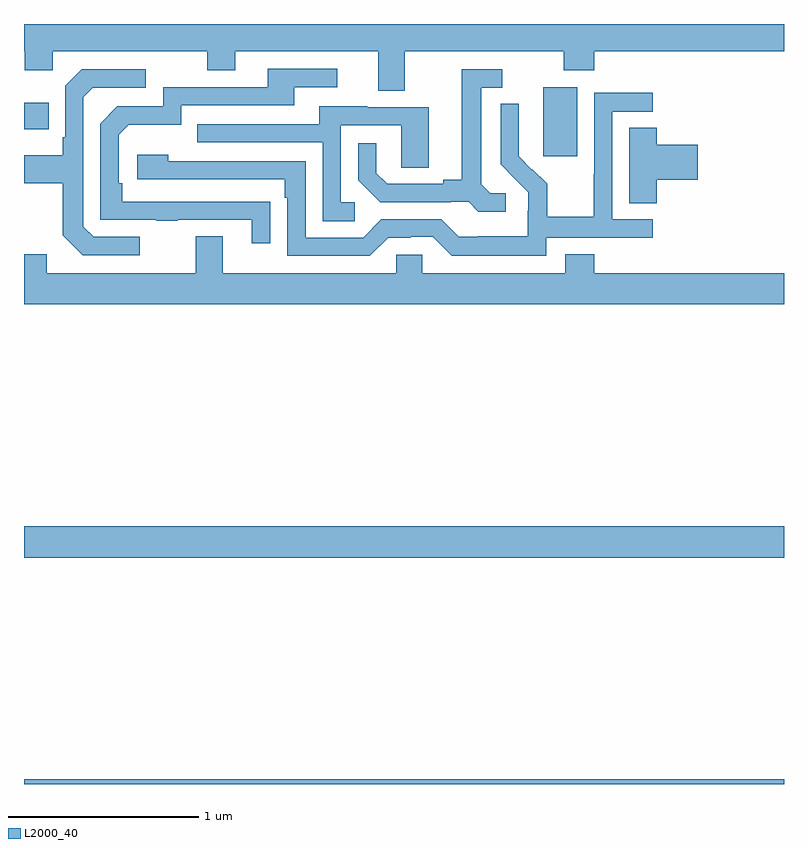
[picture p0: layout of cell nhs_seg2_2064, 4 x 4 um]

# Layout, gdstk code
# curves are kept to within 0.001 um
import gdstk
lib = gdstk.Library(unit=1e-6, precision=1e-09)
def R(c, l, rs):  # rectangles x0, y0, x1, y1
    for r in rs: c.add(gdstk.rectangle(r[:2], r[2:], *l))
def P(c, l, *ps):  # polygons
    for p in ps: c.add(gdstk.Polygon(p, *l))
L2000_40 = (2000, 40)

nhs_seg2_2064 = lib.new_cell('nhs_seg2_2064')
R(nhs_seg2_2064, L2000_40, [(219,623.8,223,623.824), (219,624.992,223,625.156), (221.732,627.105,221.911,627.466), (219,627.245,219.131,627.385)])
P(nhs_seg2_2064, L2000_40, [(221.005,627.656),(221.842,627.656),(221.842,627.557),(222.002,627.557),(222.002,627.656),(223,627.656),(223,627.8),(219,627.8),(219,627.656),(219.004,627.656),(219.004,627.557),(219.15,627.557),(219.15,627.656),(219.964,627.656),(219.964,627.557),(220.111,627.557),(220.111,627.656),(220.865,627.656),(220.865,627.448),(221.005,627.448)],
  [(220.295,626.864),(219.518,626.865),(219.518,626.962),(219.498,626.962),(219.498,627.216),(219.551,627.269),(219.828,627.269),(219.828,627.372),(220.423,627.372),(220.423,627.468),(220.648,627.468),(220.648,627.564),(220.283,627.564),(220.283,627.468),(219.732,627.468),(219.732,627.366),(219.492,627.366),(219.402,627.276),(219.402,626.769),(219.697,626.769),(219.697,626.764),(219.809,626.764),(219.809,626.769),(220.199,626.769),(220.199,626.646),(220.295,626.646)],
  [(221.536,626.91),(221.454,626.91),(221.407,626.957),(221.407,627.465),(221.518,627.465),(221.518,627.561),(221.303,627.561),(221.303,626.981),(221.207,626.981),(221.207,626.958),(220.912,626.958),(220.855,627.015),(220.855,627.172),(220.758,627.172),(220.758,626.978),(220.874,626.862),(221.246,626.862),(221.246,626.865),(221.34,626.865),(221.392,626.813),(221.536,626.813)],
  [(219.61,626.679),(219.366,626.679),(219.312,626.733),(219.312,627.414),(219.363,627.465),(219.64,627.465),(219.64,627.561),(219.303,627.561),(219.216,627.474),(219.216,627.205),(219.204,627.205),(219.204,627.109),(219,627.109),(219,626.962),(219.204,626.962),(219.204,626.689),(219.309,626.583),(219.61,626.583)],
  [(221.748,626.676),(222.31,626.676),(222.31,626.772),(222.096,626.772),(222.096,627.339),(222.31,627.339),(222.31,627.438),(222,627.438),(222,627.008),(221.998,627.008),(221.998,626.785),(221.753,626.785),(221.753,626.959),(221.676,627.036),(221.673,627.033),(221.603,627.104),(221.604,627.38),(221.508,627.38),(221.508,627.062),(221.654,626.914),(221.654,626.817),(221.652,626.817),(221.652,626.683),(221.389,626.683),(221.389,626.679),(221.289,626.679),(221.196,626.772),(220.881,626.772),(220.785,626.676),(220.482,626.676),(220.482,627.078),(219.758,627.078),(219.758,627.112),(219.597,627.112),(219.597,626.982),(220.373,626.982),(220.373,626.885),(220.386,626.885),(220.386,626.58),(220.821,626.58),(220.917,626.676),(221.036,626.676),(221.036,626.679),(221.151,626.679),(221.251,626.579),(221.748,626.579)],
  [(220.741,626.862),(220.668,626.862),(220.668,627.267),(220.986,627.267),(220.986,627.043),(221.131,627.043),(221.131,627.363),(220.807,627.363),(220.807,627.367),(220.553,627.367),(220.553,627.273),(219.913,627.273),(219.913,627.177),(220.572,627.177),(220.572,626.761),(220.741,626.761)],
  [(222.329,626.981),(222.547,626.981),(222.547,627.164),(222.329,627.164),(222.329,627.254),(222.185,627.254),(222.185,626.857),(222.329,626.857)],
  [(223,626.488),(222.002,626.488),(222.002,626.587),(221.849,626.587),(221.849,626.488),(221.097,626.488),(221.097,626.586),(220.959,626.586),(220.959,626.488),(220.045,626.488),(220.045,626.683),(219.905,626.683),(219.905,626.488),(219.121,626.488),(219.121,626.587),(219,626.587),(219,626.324),(223,626.324)])

lib.write_gds('nhs_seg2_2064.gds')
